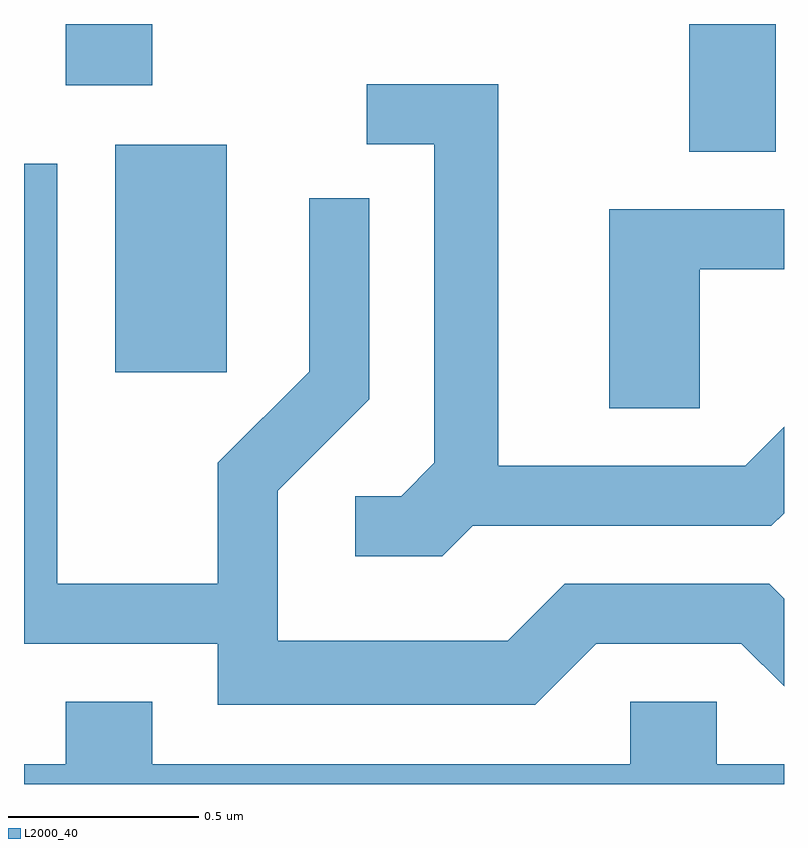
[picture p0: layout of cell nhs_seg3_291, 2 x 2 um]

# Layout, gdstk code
import gdstk
lib = gdstk.Library(unit=1e-6, precision=1e-09)
def R(c, l, rs):  # rectangles x0, y0, x1, y1
    for r in rs: c.add(gdstk.rectangle(r[:2], r[2:], *l))
def P(c, l, *ps):  # polygons
    for p in ps: c.add(gdstk.Polygon(p, *l))
L2000_40 = (2000, 40)

nhs_seg3_291 = lib.new_cell('nhs_seg3_291')
R(nhs_seg3_291, L2000_40, [(187.851,1133.976,188.144,1134.574), (189.361,1134.556,189.589,1134.892), (187.721,1134.731,187.949,1134.892)])
P(nhs_seg3_291, L2000_40, [(188.792,1133.571),(189.577,1133.571),(189.611,1133.605),(189.611,1133.832),(189.509,1133.729),(188.859,1133.729),(188.859,1134.734),(188.513,1134.734),(188.513,1134.576),(188.691,1134.576),(188.691,1133.737),(188.604,1133.649),(188.483,1133.649),(188.483,1133.491),(188.712,1133.491)],
  [(189.117,1133.261),(189.499,1133.261),(189.611,1133.149),(189.611,1133.38),(189.572,1133.419),(189.034,1133.419),(188.884,1133.269),(188.279,1133.269),(188.279,1133.664),(188.519,1133.904),(188.519,1134.433),(188.361,1134.433),(188.361,1133.977),(188.121,1133.737),(188.121,1133.419),(187.699,1133.419),(187.699,1134.524),(187.611,1134.524),(187.611,1133.261),(188.121,1133.261),(188.121,1133.101),(188.957,1133.101)],
  [(189.389,1134.246),(189.611,1134.246),(189.611,1134.404),(189.151,1134.404),(189.151,1133.881),(189.389,1133.881)],
  [(189.611,1132.944),(189.434,1132.944),(189.434,1133.109),(189.206,1133.109),(189.206,1132.944),(187.949,1132.944),(187.949,1133.109),(187.721,1133.109),(187.721,1132.944),(187.611,1132.944),(187.611,1132.892),(189.611,1132.892)])

lib.write_gds('nhs_seg3_291.gds')
